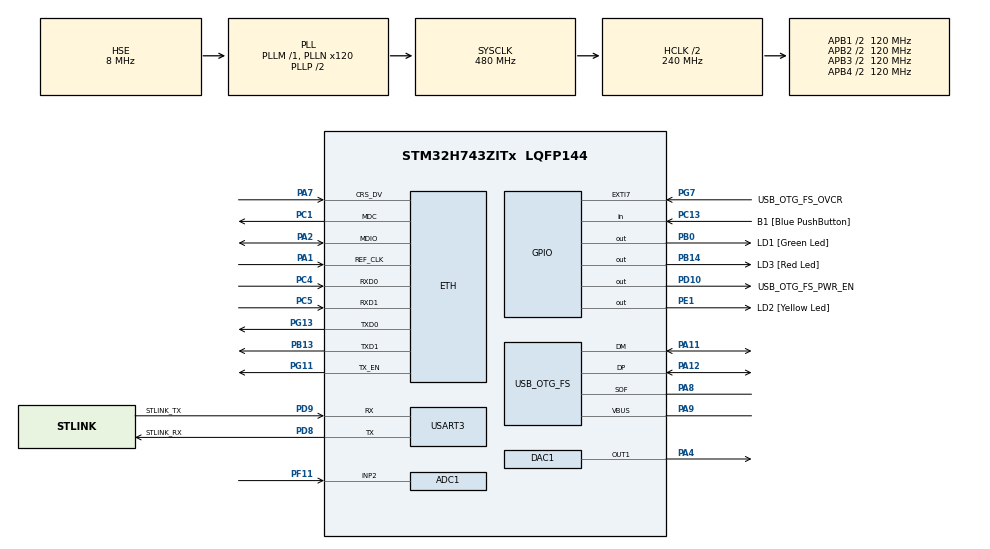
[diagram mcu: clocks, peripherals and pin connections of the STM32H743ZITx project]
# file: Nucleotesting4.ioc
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ADC1.Channel-0\#ChannelRegularConversion=ADC_CHANNEL_2
ADC1.ContinuousConvMode=ENABLE
ADC1.ConversionDataManagement=ADC_CONVERSIONDATA_DMA_CIRCULAR
ADC1.EnableAnalogWatchDog1=false
ADC1.ExternalTrigConv=ADC_SOFTWARE_START
ADC1.NbrOfConversion=1
ADC1.NbrOfConversionFlag=1
ADC1.OffsetNumber-0\#ChannelRegularConversion=ADC_OFFSET_NONE
ADC1.OffsetSignedSaturation-0\#ChannelRegularConversion=DISABLE
ADC1.Rank-0\#ChannelRegularConversion=1
ADC1.Resolution=ADC_RESOLUTION_12B
ADC1.SamplingTime-0\#ChannelRegularConversion=ADC_SAMPLETIME_1CYCLE_5
ADC1.master=1
DAC1.DAC_Channel-DAC_OUT1=DAC_CHANNEL_1
DAC1.DAC_Trigger-DAC_OUT1=DAC_TRIGGER_T1_TRGO
Dma.ADC1.0.Direction=DMA_PERIPH_TO_MEMORY
Dma.ADC1.0.EventEnable=DISABLE
Dma.ADC1.0.FIFOMode=DMA_FIFOMODE_DISABLE
Dma.ADC1.0.Instance=DMA1_Stream0
Dma.ADC1.0.MemDataAlignment=DMA_MDATAALIGN_HALFWORD
Dma.ADC1.0.MemInc=DMA_MINC_ENABLE
Dma.ADC1.0.Mode=DMA_CIRCULAR
Dma.ADC1.0.PeriphDataAlignment=DMA_PDATAALIGN_HALFWORD
Dma.ADC1.0.PeriphInc=DMA_PINC_DISABLE
Dma.ADC1.0.Polarity=HAL_DMAMUX_REQ_GEN_RISING
Dma.ADC1.0.Priority=DMA_PRIORITY_LOW
Dma.ADC1.0.RequestNumber=1
Dma.ADC1.0.SignalID=NONE
Dma.ADC1.0.SyncEnable=DISABLE
Dma.ADC1.0.SyncPolarity=HAL_DMAMUX_SYNC_NO_EVENT
Dma.ADC1.0.SyncRequestNumber=1
Dma.ADC1.0.SyncSignalID=NONE
Dma.DAC1_CH1.1.Direction=DMA_MEMORY_TO_PERIPH
Dma.DAC1_CH1.1.EventEnable=DISABLE
Dma.DAC1_CH1.1.FIFOMode=DMA_FIFOMODE_DISABLE
Dma.DAC1_CH1.1.Instance=DMA1_Stream1
Dma.DAC1_CH1.1.MemDataAlignment=DMA_MDATAALIGN_WORD
Dma.DAC1_CH1.1.MemInc=DMA_MINC_ENABLE
Dma.DAC1_CH1.1.Mode=DMA_CIRCULAR
Dma.DAC1_CH1.1.PeriphDataAlignment=DMA_PDATAALIGN_WORD
Dma.DAC1_CH1.1.PeriphInc=DMA_PINC_DISABLE
Dma.DAC1_CH1.1.Polarity=HAL_DMAMUX_REQ_GEN_RISING
Dma.DAC1_CH1.1.Priority=DMA_PRIORITY_HIGH
Dma.DAC1_CH1.1.RequestNumber=1
Dma.DAC1_CH1.1.SignalID=NONE
Dma.DAC1_CH1.1.SyncEnable=DISABLE
Dma.DAC1_CH1.1.SyncPolarity=HAL_DMAMUX_SYNC_NO_EVENT
Dma.DAC1_CH1.1.SyncRequestNumber=1
Dma.DAC1_CH1.1.SyncSignalID=NONE
Dma.Request0=ADC1
Dma.Request1=DAC1_CH1
ETH.MediaInterface=HAL_ETH_RMII_MODE
Mcu.Family=STM32H7
Mcu.Name=STM32H743ZITx
Mcu.Package=LQFP144
NVIC.DMA1_Stream0_IRQn=true\:0\:0\:false\:false\:true\:false\:true
NVIC.DMA1_Stream1_IRQn=true\:0\:0\:false\:false\:true\:false\:true
NVIC.OTG_FS_IRQn=true\:0\:0\:false\:false\:true\:false\:true
NVIC.PriorityGroup=NVIC_PRIORITYGROUP_4
PA1.Mode=RMII
PA1.Signal=ETH_REF_CLK
PA11.Mode=Device_Only
PA11.Signal=USB_OTG_FS_DM
PA12.Mode=Device_Only
PA12.Signal=USB_OTG_FS_DP
PA2.Mode=RMII
PA2.Signal=ETH_MDIO
PA4.Signal=COMP_DAC11_group
PA7.Mode=RMII
PA7.Signal=ETH_CRS_DV
PA8.Mode=Activate_SOF_FS
PA8.Signal=USB_OTG_FS_SOF
PA9.Mode=Activate_VBUS
PA9.Signal=USB_OTG_FS_VBUS
PB0.GPIO_Label=LD1 [Green Led]
PB0.Signal=GPIO_Output
PB13.Mode=RMII
PB13.Signal=ETH_TXD1
PB14.GPIO_Label=LD3 [Red Led]
PB14.Signal=GPIO_Output
PC1.Mode=RMII
PC1.Signal=ETH_MDC
PC13.GPIO_Label=B1 [Blue PushButton]
PC13.Signal=GPIO_Input
PC14-OSC32_IN\ (OSC32_IN).Mode=LSE-External-Oscillator
PC14-OSC32_IN\ (OSC32_IN).Signal=RCC_OSC32_IN
PC15-OSC32_OUT\ (OSC32_OUT).Mode=LSE-External-Oscillator
PC15-OSC32_OUT\ (OSC32_OUT).Signal=RCC_OSC32_OUT
PC4.Mode=RMII
PC4.Signal=ETH_RXD0
PC5.Mode=RMII
PC5.Signal=ETH_RXD1
PD10.GPIO_Label=USB_OTG_FS_PWR_EN
PD10.Signal=GPIO_Output
PD8.GPIO_Label=STLINK_RX
PD8.Mode=Asynchronous
PD8.Signal=USART3_TX
PD9.GPIO_Label=STLINK_TX
PD9.Mode=Asynchronous
PD9.Signal=USART3_RX
PE1.GPIO_Label=LD2 [Yellow Led]
PE1.Signal=GPIO_Output
PF11.Mode=IN2-Single-Ended
PF11.Signal=ADC1_INP2
PG11.Mode=RMII
PG11.Signal=ETH_TX_EN
PG13.Mode=RMII
PG13.Signal=ETH_TXD0
PG7.GPIO_Label=USB_OTG_FS_OVCR
PG7.Signal=GPXTI7
PH0-OSC_IN\ (PH0).Mode=HSE-External-Clock-Source
PH0-OSC_IN\ (PH0).Signal=RCC_OSC_IN
PH1-OSC_OUT\ (PH1).Signal=RCC_OSC_OUT
ProjectManager.HeapSize=0x200
ProjectManager.StackSize=0x400
ProjectManager.TargetToolchain=STM32CubeIDE
RCC.ADCFreq_Value=50000000
RCC.APB1Freq_Value=120000000
RCC.APB2Freq_Value=120000000
RCC.APB3Freq_Value=120000000
RCC.APB4Freq_Value=120000000
RCC.CortexFreq_Value=480000000
RCC.D1PPRE=RCC_APB3_DIV2
RCC.D2PPRE1=RCC_APB1_DIV2
RCC.D2PPRE2=RCC_APB2_DIV2
RCC.D3PPRE=RCC_APB4_DIV2
RCC.DIVM1=1
RCC.DIVM2=1
RCC.DIVN1=120
RCC.DIVN2=18
RCC.DIVP2=3
RCC.DIVQ1=20
RCC.HCLKFreq_Value=240000000
RCC.HPRE=RCC_HCLK_DIV2
RCC.HSE_VALUE=8000000
RCC.PLL2FRACN=6144
RCC.PLL3FRACN=0
RCC.PLLFRACN=0
RCC.PWR_Regulator_Voltage_Scale=PWR_REGULATOR_VOLTAGE_SCALE0
RCC.SYSCLKFreq_VALUE=480000000
RCC.SYSCLKSource=RCC_SYSCLKSOURCE_PLLCLK
RCC.USBFreq_Value=48000000
SH.COMP_DAC11_group.0=DAC1_OUT1,DAC_OUT1
TIM1.TIM_MasterOutputTrigger=TIM_TRGO_UPDATE
TIM1.TIM_MasterOutputTrigger2=TIM_TRGO2_UPDATE
USART3.VirtualMode-Asynchronous=VM_ASYNC
USB_DEVICE.CLASS_NAME_FS=CDC
USB_DEVICE.USBD_DEBUG_LEVEL-CDC_FS=0
USB_DEVICE.VirtualMode-CDC_FS=Cdc
USB_DEVICE.VirtualModeFS=Cdc_FS
USB_OTG_FS.VirtualMode=Device_Only
VP_TIM1_VS_ClockSourceINT.Mode=Internal
VP_USB_DEVICE_VS_USB_DEVICE_CDC_FS.Mode=CDC_FS
board=NUCLEO-H743ZI2

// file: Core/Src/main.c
/* USER CODE BEGIN Header */
/**
  ******************************************************************************
  * @file           : main.c
  * @brief          : Main program body
  ******************************************************************************
  * @attention
  *
  * <h2><center>&copy; Copyright (c) 2021 STMicroelectronics.
  * All rights reserved.</center></h2>
  *
  * This software component is licensed by ST under BSD 3-Clause license,
  * the "License"; You may not use this file except in compliance with the
  * License. You may obtain a copy of the License at:
  *                        opensource.org/licenses/BSD-3-Clause
  *
  ******************************************************************************
  */
/* USER CODE END Header */
#include "main.h"
#include "string.h"
#include "usb_device.h"

/* USER CODE BEGIN Includes */
#define ADC_CONVERTED_DATA_BUFFER_SIZE   ((uint32_t)  2048*2)
#include "usbd_cdc_if.h"
#include "complex.h"
#include "arm_math.h"
#include "arm_const_structs.h"

#define TEST_LENGTH_SAMPLES ((uint32_t) 2048)
/* USER CODE END Includes */

#if defined ( __ICCARM__ ) /*!< IAR Compiler */

#pragma location=0x30040000
ETH_DMADescTypeDef  DMARxDscrTab[ETH_RX_DESC_CNT]; /* Ethernet Rx DMA Descriptors */
#pragma location=0x30040060
ETH_DMADescTypeDef  DMATxDscrTab[ETH_TX_DESC_CNT]; /* Ethernet Tx DMA Descriptors */
#pragma location=0x30040200
uint8_t Rx_Buff[ETH_RX_DESC_CNT][ETH_MAX_PACKET_SIZE]; /* Ethernet Receive Buffers */

#elif defined ( __CC_ARM )  /* MDK ARM Compiler */

__attribute__((at(0x30040000))) ETH_DMADescTypeDef  DMARxDscrTab[ETH_RX_DESC_CNT]; /* Ethernet Rx DMA Descriptors */
__attribute__((at(0x30040060))) ETH_DMADescTypeDef  DMATxDscrTab[ETH_TX_DESC_CNT]; /* Ethernet Tx DMA Descriptors */
__attribute__((at(0x30040200))) uint8_t Rx_Buff[ETH_RX_DESC_CNT][ETH_MAX_PACKET_SIZE]; /* Ethernet Receive Buffer */

#elif defined ( __GNUC__ ) /* GNU Compiler */

ETH_DMADescTypeDef DMARxDscrTab[ETH_RX_DESC_CNT] __attribute__((section(".RxDecripSection"))); /* Ethernet Rx DMA Descriptors */
ETH_DMADescTypeDef DMATxDscrTab[ETH_TX_DESC_CNT] __attribute__((section(".TxDecripSection")));   /* Ethernet Tx DMA Descriptors */
uint8_t Rx_Buff[ETH_RX_DESC_CNT][ETH_MAX_PACKET_SIZE] __attribute__((section(".RxArraySection"))); /* Ethernet Receive Buffers */

#endif

ETH_TxPacketConfig TxConfig;
ADC_HandleTypeDef hadc1;
DMA_HandleTypeDef hdma_adc1;

DAC_HandleTypeDef hdac1;
DMA_HandleTypeDef hdma_dac1_ch1;

ETH_HandleTypeDef heth;

TIM_HandleTypeDef htim1;

UART_HandleTypeDef huart3;

/* USER CODE BEGIN PV */
ALIGN_32BYTES (static uint16_t   aADCxConvertedData[ADC_CONVERTED_DATA_BUFFER_SIZE]);

/* USER CODE END PV */

void SystemClock_Config(void);
static void MX_GPIO_Init(void);
static void MX_ETH_Init(void);
static void MX_USART3_UART_Init(void);
static void MX_DMA_Init(void);
static void MX_ADC1_Init(void);
static void MX_DAC1_Init(void);
static void MX_TIM1_Init(void);

/* USER CODE BEGIN 0 */
char *data = "Hello world\n"; //a must have

char buffer[64];
//extern float32_t testInput_f32_10khz[TEST_LENGTH_SAMPLES];
static float32_t testOutput[TEST_LENGTH_SAMPLES];

uint32_t fftSize = TEST_LENGTH_SAMPLES;
uint32_t ifftFlag = 0;		// regular FFT
uint32_t doBitReverse = 1;  // reverse bit to output.

uint32_t refIndex = 213, testIndex = 0;

extern unsigned int mysine[2048];

/* USER CODE END 0 */

int main(void)
{
  /* USER CODE BEGIN 1 */
	arm_status status;
	float32_t maxValue;

	status = ARM_MATH_SUCCESS;

  /* USER CODE END 1 */

  /* MCU Configuration--------------------------------------------------------*/

  /* Reset of all peripherals, Initializes the Flash interface and the Systick. */
  HAL_Init();

  /* Configure the system clock */
  SystemClock_Config();

  /* Initialize all configured peripherals */
  MX_GPIO_Init();
  MX_ETH_Init();
  MX_USART3_UART_Init();
  MX_DMA_Init();
  MX_ADC1_Init();
  MX_DAC1_Init();
  MX_TIM1_Init();
  MX_USB_DEVICE_Init();
  /* USER CODE BEGIN 2 */
  // start ADC. Saves data to aADCxConvertedData
  if (HAL_ADC_Start_DMA(&hadc1,
                        (uint32_t *)aADCxConvertedData,
                        ADC_CONVERTED_DATA_BUFFER_SIZE
                       ) != HAL_OK)
  {
    Error_Handler();
  }
  // starts DAC. takes data from aADCxConvertedData.
  if (HAL_DAC_Start_DMA(&hdac1,
		  	  	    DAC_CHANNEL_1,
					    //(uint32_t *)aADCxConvertedData,
						//ADC_CONVERTED_DATA_BUFFER_SIZE/2,
						(uint32_t *)mysine,
						1024,
						DAC_ALIGN_12B_R)
		  	  	    != HAL_OK){
	  Error_Handler();
  }
  HAL_Delay(1000);
  HAL_TIM_Base_Start(&htim1);

  float32_t data_Buffer[TEST_LENGTH_SAMPLES*2] = {0};

	// move the data from ADC to data_Buffer
	for(int i = 0; i<TEST_LENGTH_SAMPLES; i++){
		data_Buffer[i*2] = ((float32_t)aADCxConvertedData[i]-4096/2)/2048;
	}

	// from example arm_fft_bin.example.c:
    /* Process the data through the CFFT/CIFFT module */
  	arm_cfft_f32(&arm_cfft_sR_f32_len2048, data_Buffer, ifftFlag, doBitReverse);

  	/* Process the data through the Complex Magnitude Module for
  	calculating the magnitude at each bin */
  	arm_cmplx_mag_f32(data_Buffer, testOutput, fftSize);

  	/* Calculates maxValue and returns corresponding BIN value */
  	arm_max_f32(testOutput, fftSize, &maxValue, &testIndex);

  	if (testIndex !=  refIndex){
  		status = ARM_MATH_TEST_FAILURE;
  	}
  /* USER CODE END 2 */

  /* Infinite loop */
  while (1)
  {

    /* USER CODE BEGIN 3 */
	  // Transmit the FFT output to PC
	  HAL_UART_Transmit(&huart3, (uint8_t *)data, strlen(data), HAL_MAX_DELAY);
	  for(int i = 0; i<fftSize; i++){
		  sprintf(buffer, "%f\n", testOutput[i]);
		  HAL_UART_Transmit(&huart3, (uint8_t *) buffer, strlen(buffer), HAL_MAX_DELAY);
	  }
	  // Transmit the incoming signal (different from fft input because of DMA running)
	  data = "Raw data:\n";
	  HAL_UART_Transmit(&huart3, (uint8_t *) data, strlen(data), HAL_MAX_DELAY);
	  for(int i=0; i<fftSize*2; i++){
		  sprintf(buffer, "%u\n", aADCxConvertedData[i]);
		  HAL_UART_Transmit(&huart3, (uint8_t *) buffer, strlen(buffer), HAL_MAX_DELAY);
	  }
	  //delay because why not
	  HAL_Delay(1000);

  }
  /* USER CODE END 3 */
}

void SystemClock_Config(void)
{
  RCC_OscInitTypeDef RCC_OscInitStruct = {0};
  RCC_ClkInitTypeDef RCC_ClkInitStruct = {0};

  /** Supply configuration update enable
  */
  HAL_PWREx_ConfigSupply(PWR_LDO_SUPPLY);
  /** Configure the main internal regulator output voltage
  */
  __HAL_PWR_VOLTAGESCALING_CONFIG(PWR_REGULATOR_VOLTAGE_SCALE0);

  while(!__HAL_PWR_GET_FLAG(PWR_FLAG_VOSRDY)) {}
  /** Macro to configure the PLL clock source
  */
  __HAL_RCC_PLL_PLLSOURCE_CONFIG(RCC_PLLSOURCE_HSE);
  /** Initializes the RCC Oscillators according to the specified parameters
  * in the RCC_OscInitTypeDef structure.
  */
  RCC_OscInitStruct.OscillatorType = RCC_OSCILLATORTYPE_HSE;
  RCC_OscInitStruct.HSEState = RCC_HSE_BYPASS;
  RCC_OscInitStruct.PLL.PLLState = RCC_PLL_ON;
  RCC_OscInitStruct.PLL.PLLSource = RCC_PLLSOURCE_HSE;
  RCC_OscInitStruct.PLL.PLLM = 1;
  RCC_OscInitStruct.PLL.PLLN = 120;
  RCC_OscInitStruct.PLL.PLLP = 2;
  RCC_OscInitStruct.PLL.PLLQ = 20;
  RCC_OscInitStruct.PLL.PLLR = 2;
  RCC_OscInitStruct.PLL.PLLRGE = RCC_PLL1VCIRANGE_3;
  RCC_OscInitStruct.PLL.PLLVCOSEL = RCC_PLL1VCOWIDE;
  RCC_OscInitStruct.PLL.PLLFRACN = 0;
  if (HAL_RCC_OscConfig(&RCC_OscInitStruct) != HAL_OK)
  {
    Error_Handler();
  }
  /** Initializes the CPU, AHB and APB buses clocks
  */
  RCC_ClkInitStruct.ClockType = RCC_CLOCKTYPE_HCLK|RCC_CLOCKTYPE_SYSCLK
                              |RCC_CLOCKTYPE_PCLK1|RCC_CLOCKTYPE_PCLK2
                              |RCC_CLOCKTYPE_D3PCLK1|RCC_CLOCKTYPE_D1PCLK1;
  RCC_ClkInitStruct.SYSCLKSource = RCC_SYSCLKSOURCE_PLLCLK;
  RCC_ClkInitStruct.SYSCLKDivider = RCC_SYSCLK_DIV1;
  RCC_ClkInitStruct.AHBCLKDivider = RCC_HCLK_DIV2;
  RCC_ClkInitStruct.APB3CLKDivider = RCC_APB3_DIV2;
  RCC_ClkInitStruct.APB1CLKDivider = RCC_APB1_DIV2;
  RCC_ClkInitStruct.APB2CLKDivider = RCC_APB2_DIV2;
  RCC_ClkInitStruct.APB4CLKDivider = RCC_APB4_DIV2;

  if (HAL_RCC_ClockConfig(&RCC_ClkInitStruct, FLASH_LATENCY_4) != HAL_OK)
  {
    Error_Handler();
  }
}

static void MX_ADC1_Init(void)
{

  ADC_MultiModeTypeDef multimode = {0};
  ADC_ChannelConfTypeDef sConfig = {0};

  /** Common config
  */
  hadc1.Instance = ADC1;
  hadc1.Init.ClockPrescaler = ADC_CLOCK_ASYNC_DIV1;
  hadc1.Init.Resolution = ADC_RESOLUTION_12B;
  hadc1.Init.ScanConvMode = ADC_SCAN_DISABLE;
  hadc1.Init.EOCSelection = ADC_EOC_SINGLE_CONV;
  hadc1.Init.LowPowerAutoWait = DISABLE;
  hadc1.Init.ContinuousConvMode = ENABLE;
  hadc1.Init.NbrOfConversion = 1;
  hadc1.Init.DiscontinuousConvMode = DISABLE;
  hadc1.Init.ExternalTrigConv = ADC_SOFTWARE_START;
  hadc1.Init.ExternalTrigConvEdge = ADC_EXTERNALTRIGCONVEDGE_NONE;
  hadc1.Init.ConversionDataManagement = ADC_CONVERSIONDATA_DMA_CIRCULAR;
  hadc1.Init.Overrun = ADC_OVR_DATA_PRESERVED;
  hadc1.Init.LeftBitShift = ADC_LEFTBITSHIFT_NONE;
  hadc1.Init.OversamplingMode = DISABLE;
  if (HAL_ADC_Init(&hadc1) != HAL_OK)
  {
    Error_Handler();
  }
  /** Configure the ADC multi-mode
  */
  multimode.Mode = ADC_MODE_INDEPENDENT;
  if (HAL_ADCEx_MultiModeConfigChannel(&hadc1, &multimode) != HAL_OK)
  {
    Error_Handler();
  }
  /** Configure Regular Channel
  */
  sConfig.Channel = ADC_CHANNEL_5;
  sConfig.Rank = ADC_REGULAR_RANK_1;
  sConfig.SamplingTime = ADC_SAMPLETIME_1CYCLE_5;
  sConfig.SingleDiff = ADC_SINGLE_ENDED;
  sConfig.OffsetNumber = ADC_OFFSET_NONE;
  sConfig.Offset = 0;
  sConfig.OffsetSignedSaturation = DISABLE;
  if (HAL_ADC_ConfigChannel(&hadc1, &sConfig) != HAL_OK)
  {
    Error_Handler();
  }

}

static void MX_DAC1_Init(void)
{

  DAC_ChannelConfTypeDef sConfig = {0};

  /** DAC Initialization
  */
  hdac1.Instance = DAC1;
  if (HAL_DAC_Init(&hdac1) != HAL_OK)
  {
    Error_Handler();
  }
  /** DAC channel OUT1 config
  */
  sConfig.DAC_SampleAndHold = DAC_SAMPLEANDHOLD_DISABLE;
  sConfig.DAC_Trigger = DAC_TRIGGER_T1_TRGO;
  sConfig.DAC_OutputBuffer = DAC_OUTPUTBUFFER_ENABLE;
  sConfig.DAC_ConnectOnChipPeripheral = DAC_CHIPCONNECT_DISABLE;
  sConfig.DAC_UserTrimming = DAC_TRIMMING_FACTORY;
  if (HAL_DAC_ConfigChannel(&hdac1, &sConfig, DAC_CHANNEL_1) != HAL_OK)
  {
    Error_Handler();
  }

}

static void MX_ETH_Init(void)
{

   static uint8_t MACAddr[6];

  heth.Instance = ETH;
  MACAddr[0] = 0x00;
  MACAddr[1] = 0x80;
  MACAddr[2] = 0xE1;
  MACAddr[3] = 0x00;
  MACAddr[4] = 0x00;
  MACAddr[5] = 0x00;
  heth.Init.MACAddr = &MACAddr[0];
  heth.Init.MediaInterface = HAL_ETH_RMII_MODE;
  heth.Init.TxDesc = DMATxDscrTab;
  heth.Init.RxDesc = DMARxDscrTab;
  heth.Init.RxBuffLen = 1524;

  if (HAL_ETH_Init(&heth) != HAL_OK)
  {
    Error_Handler();
  }

  memset(&TxConfig, 0 , sizeof(ETH_TxPacketConfig));
  TxConfig.Attributes = ETH_TX_PACKETS_FEATURES_CSUM | ETH_TX_PACKETS_FEATURES_CRCPAD;
  TxConfig.ChecksumCtrl = ETH_CHECKSUM_IPHDR_PAYLOAD_INSERT_PHDR_CALC;
  TxConfig.CRCPadCtrl = ETH_CRC_PAD_INSERT;

}

static void MX_TIM1_Init(void)
{

  TIM_ClockConfigTypeDef sClockSourceConfig = {0};
  TIM_MasterConfigTypeDef sMasterConfig = {0};

  htim1.Instance = TIM1;
  htim1.Init.Prescaler = 0;
  htim1.Init.CounterMode = TIM_COUNTERMODE_UP;
  htim1.Init.Period = 65535/10;
  htim1.Init.ClockDivision = TIM_CLOCKDIVISION_DIV1;
  htim1.Init.RepetitionCounter = 0;
  htim1.Init.AutoReloadPreload = TIM_AUTORELOAD_PRELOAD_DISABLE;
  if (HAL_TIM_Base_Init(&htim1) != HAL_OK)
  {
    Error_Handler();
  }
  sClockSourceConfig.ClockSource = TIM_CLOCKSOURCE_INTERNAL;
  if (HAL_TIM_ConfigClockSource(&htim1, &sClockSourceConfig) != HAL_OK)
  {
    Error_Handler();
  }
  sMasterConfig.MasterOutputTrigger = TIM_TRGO_UPDATE;
  sMasterConfig.MasterOutputTrigger2 = TIM_TRGO2_UPDATE;
  sMasterConfig.MasterSlaveMode = TIM_MASTERSLAVEMODE_DISABLE;
  if (HAL_TIMEx_MasterConfigSynchronization(&htim1, &sMasterConfig) != HAL_OK)
  {
    Error_Handler();
  }

}

static void MX_USART3_UART_Init(void)
{

  huart3.Instance = USART3;
  huart3.Init.BaudRate = 115200;
  huart3.Init.WordLength = UART_WORDLENGTH_8B;
  huart3.Init.StopBits = UART_STOPBITS_1;
  huart3.Init.Parity = UART_PARITY_NONE;
  huart3.Init.Mode = UART_MODE_TX_RX;
  huart3.Init.HwFlowCtl = UART_HWCONTROL_NONE;
  huart3.Init.OverSampling = UART_OVERSAMPLING_16;
  huart3.Init.OneBitSampling = UART_ONE_BIT_SAMPLE_DISABLE;
  huart3.Init.ClockPrescaler = UART_PRESCALER_DIV1;
  huart3.AdvancedInit.AdvFeatureInit = UART_ADVFEATURE_NO_INIT;
  if (HAL_UART_Init(&huart3) != HAL_OK)
  {
    Error_Handler();
  }
  if (HAL_UARTEx_SetTxFifoThreshold(&huart3, UART_TXFIFO_THRESHOLD_1_8) != HAL_OK)
  {
    Error_Handler();
  }
  if (HAL_UARTEx_SetRxFifoThreshold(&huart3, UART_RXFIFO_THRESHOLD_1_8) != HAL_OK)
  {
    Error_Handler();
  }
  if (HAL_UARTEx_DisableFifoMode(&huart3) != HAL_OK)
  {
    Error_Handler();
  }

}

static void MX_DMA_Init(void)
{

  /* DMA controller clock enable */
  __HAL_RCC_DMA1_CLK_ENABLE();

  /* DMA interrupt init */
  /* DMA1_Stream0_IRQn interrupt configuration */
  HAL_NVIC_SetPriority(DMA1_Stream0_IRQn, 0, 0);
  HAL_NVIC_EnableIRQ(DMA1_Stream0_IRQn);
  /* DMA1_Stream1_IRQn interrupt configuration */
  HAL_NVIC_SetPriority(DMA1_Stream1_IRQn, 0, 0);
  HAL_NVIC_EnableIRQ(DMA1_Stream1_IRQn);

}

static void MX_GPIO_Init(void)
{
  GPIO_InitTypeDef GPIO_InitStruct = {0};

  /* GPIO Ports Clock Enable */
  __HAL_RCC_GPIOC_CLK_ENABLE();
  __HAL_RCC_GPIOH_CLK_ENABLE();
  __HAL_RCC_GPIOA_CLK_ENABLE();
  __HAL_RCC_GPIOB_CLK_ENABLE();
  __HAL_RCC_GPIOF_CLK_ENABLE();
  __HAL_RCC_GPIOD_CLK_ENABLE();
  __HAL_RCC_GPIOG_CLK_ENABLE();
  __HAL_RCC_GPIOE_CLK_ENABLE();

  /*Configure GPIO pin Output Level */
  HAL_GPIO_WritePin(GPIOB, LD1_Pin|LD3_Pin, GPIO_PIN_RESET);

  /*Configure GPIO pin Output Level */
  HAL_GPIO_WritePin(USB_OTG_FS_PWR_EN_GPIO_Port, USB_OTG_FS_PWR_EN_Pin, GPIO_PIN_RESET);

  /*Configure GPIO pin Output Level */
  HAL_GPIO_WritePin(LD2_GPIO_Port, LD2_Pin, GPIO_PIN_RESET);

  /*Configure GPIO pin : B1_Pin */
  GPIO_InitStruct.Pin = B1_Pin;
  GPIO_InitStruct.Mode = GPIO_MODE_INPUT;
  GPIO_InitStruct.Pull = GPIO_NOPULL;
  HAL_GPIO_Init(B1_GPIO_Port, &GPIO_InitStruct);

  /*Configure GPIO pins : LD1_Pin LD3_Pin */
  GPIO_InitStruct.Pin = LD1_Pin|LD3_Pin;
  GPIO_InitStruct.Mode = GPIO_MODE_OUTPUT_PP;
  GPIO_InitStruct.Pull = GPIO_NOPULL;
  GPIO_InitStruct.Speed = GPIO_SPEED_FREQ_LOW;
  HAL_GPIO_Init(GPIOB, &GPIO_InitStruct);

  /*Configure GPIO pin : USB_OTG_FS_PWR_EN_Pin */
  GPIO_InitStruct.Pin = USB_OTG_FS_PWR_EN_Pin;
  GPIO_InitStruct.Mode = GPIO_MODE_OUTPUT_PP;
  GPIO_InitStruct.Pull = GPIO_NOPULL;
  GPIO_InitStruct.Speed = GPIO_SPEED_FREQ_LOW;
  HAL_GPIO_Init(USB_OTG_FS_PWR_EN_GPIO_Port, &GPIO_InitStruct);

  /*Configure GPIO pin : USB_OTG_FS_OVCR_Pin */
  GPIO_InitStruct.Pin = USB_OTG_FS_OVCR_Pin;
  GPIO_InitStruct.Mode = GPIO_MODE_IT_RISING;
  GPIO_InitStruct.Pull = GPIO_NOPULL;
  HAL_GPIO_Init(USB_OTG_FS_OVCR_GPIO_Port, &GPIO_InitStruct);

  /*Configure GPIO pin : LD2_Pin */
  GPIO_InitStruct.Pin = LD2_Pin;
  GPIO_InitStruct.Mode = GPIO_MODE_OUTPUT_PP;
  GPIO_InitStruct.Pull = GPIO_NOPULL;
  GPIO_InitStruct.Speed = GPIO_SPEED_FREQ_LOW;
  HAL_GPIO_Init(LD2_GPIO_Port, &GPIO_InitStruct);

}

void Error_Handler(void)
{
  __disable_irq();
  while (1)
  {
  }
}

/************************ (C) COPYRIGHT STMicroelectronics *****END OF FILE****/
